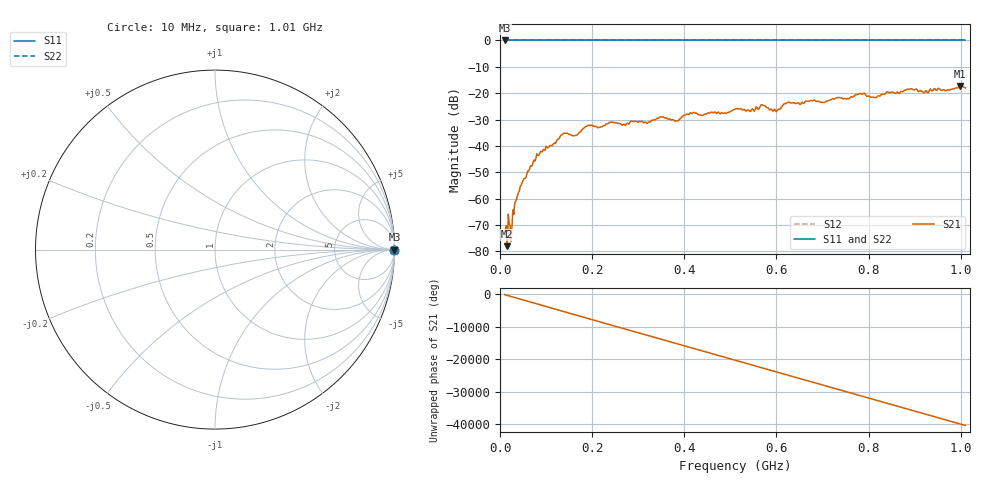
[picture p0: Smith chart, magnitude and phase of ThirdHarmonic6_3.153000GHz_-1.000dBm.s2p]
! 8/17/2025 9:26:50 AM
! C:\ANRITSUVNA\TEMP\TEMP.S2P
! CHANNEL.1
! TR.MEASUREMENT
! RAW.DATA
! RF.CORRECTION.OFF
! AVERAGING.OFF
! IF.BANDWIDTH: 5KHZ
! SWEEPTYPE:  FREQ.SWEEP(Linear)
! Reference Plane Port Info
! PORT:  PORT1  PORT2
! DISTANCE:  0  m  0  m
! TIME:  0  s  0  s
! PHASE.OFFSET:  0  deg.  0  deg.
! LOSS:  0  dB  0  dB
! REF.LOSS:  0  dB  0  dB
! REF.FREQ:  0  Hz  0  Hz
! Power Info
! POWER:  -20  dBm  -20  dBm
! EFF.POWER:  -20  dBm  -20  dBm
! SOURCE.ATTEN:  0  dB  0  dB
! TEST.ATTEN:  0  dB  0  dB
# GHZ S RI R 50.0
! FREQ.GHZ  S11RE  S11IM  S21RE  S21IM  S12RE  S12IM  S22RE  S22IM
!; PortSelection: Port_12
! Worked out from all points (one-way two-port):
!   501 points, 10 MHz to 1.01 GHz, reference 50 ohm
!   highest |S21| = -17.28 dB at 998 MHz (marker M1); lowest = -78.0 dB at 16 MHz (marker M2)
!   lowest |S11| = 0.0 dB at 10 MHz (marker M3)
!   |S11| at or under -10 dB: nowhere
!   |S22| runs from 0.0 to 0.0 dB; largest |S21 - S12| = 1.1
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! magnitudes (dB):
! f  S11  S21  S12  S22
! 10 MHz  0.0  -72.8  0.0  0.0
! 12 MHz  0.0  -71.8  0.0  0.0
! 16 MHz  0.0  -78.0  0.0  0.0
! 20 MHz  0.0  -69.4  0.0  0.0
! 26 MHz  0.0  -70.7  0.0  0.0
! 32 MHz  0.0  -61.8  0.0  0.0
! 48 MHz  0.0  -54.0  0.0  0.0
! 84 MHz  0.0  -43.5  0.0  0.0
! 136 MHz  0.0  -35.6  0.0  0.0
! 162 MHz  0.0  -36.1  0.0  0.0
! 178 MHz  0.0  -33.8  0.0  0.0
! 344 MHz  0.0  -29.5  0.0  0.0
! 384 MHz  0.0  -30.5  0.0  0.0
! 416 MHz  0.0  -27.8  0.0  0.0
! 510 MHz  0.0  -26.1  0.0  0.0
! 570 MHz  0.0  -24.5  0.0  0.0
! 596 MHz  0.0  -26.0  0.0  0.0
! 624 MHz  0.0  -23.6  0.0  0.0
! 678 MHz  0.0  -22.9  0.0  0.0
! 844 MHz  0.0  -19.8  0.0  0.0
! 998 MHz  0.0  -17.3  0.0  0.0
! 1.01 GHz  0.0  -18.0  0.0  0.0
